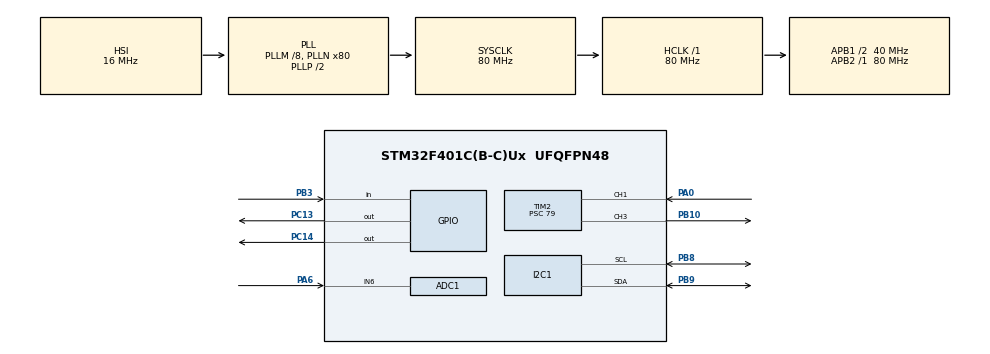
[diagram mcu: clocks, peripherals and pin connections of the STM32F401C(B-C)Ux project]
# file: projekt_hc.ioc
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ADC1.Channel-3\#ChannelRegularConversion=ADC_CHANNEL_6
ADC1.ContinuousConvMode=ENABLE
ADC1.NbrOfConversionFlag=1
ADC1.Rank-3\#ChannelRegularConversion=1
ADC1.SamplingTime-3\#ChannelRegularConversion=ADC_SAMPLETIME_56CYCLES
ADC1.master=1
I2C1.I2C_Mode=I2C_Fast
Mcu.Family=STM32F4
Mcu.Name=STM32F401C(B-C)Ux
Mcu.Package=UFQFPN48
NVIC.PriorityGroup=NVIC_PRIORITYGROUP_4
PA0-WKUP.Signal=S_TIM2_CH1_ETR
PA6.Signal=ADCx_IN6
PB10.Signal=S_TIM2_CH3
PB3.GPIO_PuPd=GPIO_PULLUP
PB3.Signal=GPIO_Input
PB8.Mode=I2C
PB8.Signal=I2C1_SCL
PB9.Mode=I2C
PB9.Signal=I2C1_SDA
PC13-ANTI_TAMP.Signal=GPIO_Output
PC14-OSC32_IN.Signal=GPIO_Output
ProjectManager.HeapSize=0x200
ProjectManager.StackSize=0x400
ProjectManager.TargetToolchain=STM32CubeIDE
RCC.48MHZClocksFreq_Value=40000000
RCC.AHBFreq_Value=80000000
RCC.APB1CLKDivider=RCC_HCLK_DIV2
RCC.APB1Freq_Value=40000000
RCC.APB1TimFreq_Value=80000000
RCC.APB2Freq_Value=80000000
RCC.APB2TimFreq_Value=80000000
RCC.CortexFreq_Value=80000000
RCC.HCLKFreq_Value=80000000
RCC.HSE_VALUE=25000000
RCC.HSI_VALUE=16000000
RCC.LSE_VALUE=32768
RCC.PLLM=8
RCC.PLLN=80
RCC.SYSCLKFreq_VALUE=80000000
RCC.SYSCLKSource=RCC_SYSCLKSOURCE_PLLCLK
RCC.VCOOutputFreq_Value=160000000
SH.ADCx_IN6.0=ADC1_IN6,IN6
SH.S_TIM2_CH1_ETR.0=TIM2_CH1,Input_Capture1_from_TI1
SH.S_TIM2_CH3.0=TIM2_CH3,PWM Generation3 CH3
TIM2.Channel-Input_Capture1_from_TI1=TIM_CHANNEL_1
TIM2.Channel-Input_Capture2_from_TI1_63=TIM_CHANNEL_2
TIM2.Channel-PWM\ Generation3\ CH3=TIM_CHANNEL_3
TIM2.ICPolarity_CH1=TIM_INPUTCHANNELPOLARITY_RISING
TIM2.ICPolarity_CH2=TIM_INPUTCHANNELPOLARITY_FALLING
TIM2.Period=999999
TIM2.Prescaler=79
TIM2.Pulse-PWM\ Generation3\ CH3=10
VP_TIM2_VS_ClockSourceINT.Mode=Internal
VP_TIM2_VS_indirect_ch1.Mode=Input_Capture2_from_TI1_63
board=custom

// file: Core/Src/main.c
/* USER CODE BEGIN Header */
/**
  ******************************************************************************
  * @file           : main.c
  * @brief          : Main program body
  ******************************************************************************
  * @attention
  *
  * Copyright (c) 2025 STMicroelectronics.
  * All rights reserved.
  *
  * This software is licensed under terms that can be found in the LICENSE file
  * in the root directory of this software component.
  * If no LICENSE file comes with this software, it is provided AS-IS.
  *
  ******************************************************************************
  */
/* USER CODE END Header */
#include "main.h"

/* USER CODE BEGIN Includes */
#include "fonts.h"
#include "ssd1306.h"
/* USER CODE END Includes */

ADC_HandleTypeDef hadc1;

I2C_HandleTypeDef hi2c1;

TIM_HandleTypeDef htim2;

void SystemClock_Config(void);
static void MX_GPIO_Init(void);
static void MX_TIM2_Init(void);
static void MX_I2C1_Init(void);
static void MX_ADC1_Init(void);

int main(void)
{

  /* MCU Configuration--------------------------------------------------------*/

  /* Reset of all peripherals, Initializes the Flash interface and the Systick. */
  HAL_Init();

  /* Configure the system clock */
  SystemClock_Config();

  /* Initialize all configured peripherals */
  MX_GPIO_Init();
  MX_TIM2_Init();
  MX_I2C1_Init();
  MX_ADC1_Init();
  /* USER CODE BEGIN 2 */
  SSD1306_Init();
  char snum[5];

  SSD1306_GotoXY (5,0);
  SSD1306_Puts ("POMIAR", &Font_11x18, 1);
  SSD1306_GotoXY (5,20);
  SSD1306_Puts ("ODLEGLOSCI", &Font_11x18, 1);
  SSD1306_GotoXY (5,40);
  SSD1306_Puts ("W CM", &Font_11x18, 1);
  SSD1306_UpdateScreen();
  HAL_Delay (3000);

  SSD1306_Clear();
  SSD1306_GotoXY (15,0);
  SSD1306_Puts ("ODLEGLOSC", &Font_11x18, 1);
  /* USER CODE END 2 */

  /* Infinite loop */
  /* USER CODE BEGIN WHILE */

  HAL_TIM_IC_Start(&htim2, TIM_CHANNEL_1);
  HAL_TIM_IC_Start(&htim2, TIM_CHANNEL_2);
  HAL_TIM_PWM_Start(&htim2, TIM_CHANNEL_3);
  HAL_Delay(1000);
  uint32_t value = 0;

  while (1)
  {
	//pomiar temperatury
	  HAL_ADC_Start(&hadc1);
	  uint32_t adc_value = HAL_ADC_GetValue(&hadc1);
	  float temp = adc_value * 330.0f / 4096.0f;
	  float speed = 331.8f + 0.6f * temp;

	//wykonywanie pomiaru odleglosci
	uint32_t start = HAL_TIM_ReadCapturedValue(&htim2, TIM_CHANNEL_1);
	uint32_t stop = HAL_TIM_ReadCapturedValue(&htim2, TIM_CHANNEL_2);
	value = (stop - start)* speed / 20000;

	if(HAL_GPIO_ReadPin(GPIOB, GPIO_PIN_3) == GPIO_PIN_RESET){
		value = temp;
	}
	//wyswietlanie wartosc na ekranie
	itoa(value, snum, 10);
	SSD1306_GotoXY (0, 30);
	SSD1306_Puts ("             ", &Font_16x26, 1);
	SSD1306_UpdateScreen();
	if(value < 10) {
		SSD1306_GotoXY (53, 30);  // 1 DIGIT
	}
	else if (value < 100 ) {
		SSD1306_GotoXY (45, 30);  // 2 DIGITS
	}
	else if (value  < 1000 ) {
		SSD1306_GotoXY (37, 30);  // 3 DIGITS
	}
	else {
		SSD1306_GotoXY (30, 30);  // 4 DIGIS
	}
	SSD1306_Puts (snum, &Font_16x26, 1);
	SSD1306_UpdateScreen();

  	HAL_Delay(1000);
    /* USER CODE END WHILE */

  }
}

void SystemClock_Config(void)
{
  RCC_OscInitTypeDef RCC_OscInitStruct = {0};
  RCC_ClkInitTypeDef RCC_ClkInitStruct = {0};

  /** Configure the main internal regulator output voltage
  */
  __HAL_RCC_PWR_CLK_ENABLE();
  __HAL_PWR_VOLTAGESCALING_CONFIG(PWR_REGULATOR_VOLTAGE_SCALE2);

  /** Initializes the RCC Oscillators according to the specified parameters
  * in the RCC_OscInitTypeDef structure.
  */
  RCC_OscInitStruct.OscillatorType = RCC_OSCILLATORTYPE_HSI;
  RCC_OscInitStruct.HSIState = RCC_HSI_ON;
  RCC_OscInitStruct.HSICalibrationValue = RCC_HSICALIBRATION_DEFAULT;
  RCC_OscInitStruct.PLL.PLLState = RCC_PLL_ON;
  RCC_OscInitStruct.PLL.PLLSource = RCC_PLLSOURCE_HSI;
  RCC_OscInitStruct.PLL.PLLM = 8;
  RCC_OscInitStruct.PLL.PLLN = 80;
  RCC_OscInitStruct.PLL.PLLP = RCC_PLLP_DIV2;
  RCC_OscInitStruct.PLL.PLLQ = 4;
  if (HAL_RCC_OscConfig(&RCC_OscInitStruct) != HAL_OK)
  {
    Error_Handler();
  }

  /** Initializes the CPU, AHB and APB buses clocks
  */
  RCC_ClkInitStruct.ClockType = RCC_CLOCKTYPE_HCLK|RCC_CLOCKTYPE_SYSCLK
                              |RCC_CLOCKTYPE_PCLK1|RCC_CLOCKTYPE_PCLK2;
  RCC_ClkInitStruct.SYSCLKSource = RCC_SYSCLKSOURCE_PLLCLK;
  RCC_ClkInitStruct.AHBCLKDivider = RCC_SYSCLK_DIV1;
  RCC_ClkInitStruct.APB1CLKDivider = RCC_HCLK_DIV2;
  RCC_ClkInitStruct.APB2CLKDivider = RCC_HCLK_DIV1;

  if (HAL_RCC_ClockConfig(&RCC_ClkInitStruct, FLASH_LATENCY_2) != HAL_OK)
  {
    Error_Handler();
  }
}

static void MX_ADC1_Init(void)
{

  ADC_ChannelConfTypeDef sConfig = {0};

  /** Configure the global features of the ADC (Clock, Resolution, Data Alignment and number of conversion)
  */
  hadc1.Instance = ADC1;
  hadc1.Init.ClockPrescaler = ADC_CLOCK_SYNC_PCLK_DIV4;
  hadc1.Init.Resolution = ADC_RESOLUTION_12B;
  hadc1.Init.ScanConvMode = DISABLE;
  hadc1.Init.ContinuousConvMode = ENABLE;
  hadc1.Init.DiscontinuousConvMode = DISABLE;
  hadc1.Init.ExternalTrigConvEdge = ADC_EXTERNALTRIGCONVEDGE_NONE;
  hadc1.Init.ExternalTrigConv = ADC_SOFTWARE_START;
  hadc1.Init.DataAlign = ADC_DATAALIGN_RIGHT;
  hadc1.Init.NbrOfConversion = 1;
  hadc1.Init.DMAContinuousRequests = DISABLE;
  hadc1.Init.EOCSelection = ADC_EOC_SINGLE_CONV;
  if (HAL_ADC_Init(&hadc1) != HAL_OK)
  {
    Error_Handler();
  }

  /** Configure for the selected ADC regular channel its corresponding rank in the sequencer and its sample time.
  */
  sConfig.Channel = ADC_CHANNEL_6;
  sConfig.Rank = 1;
  sConfig.SamplingTime = ADC_SAMPLETIME_56CYCLES;
  if (HAL_ADC_ConfigChannel(&hadc1, &sConfig) != HAL_OK)
  {
    Error_Handler();
  }

}

static void MX_I2C1_Init(void)
{

  hi2c1.Instance = I2C1;
  hi2c1.Init.ClockSpeed = 400000;
  hi2c1.Init.DutyCycle = I2C_DUTYCYCLE_2;
  hi2c1.Init.OwnAddress1 = 0;
  hi2c1.Init.AddressingMode = I2C_ADDRESSINGMODE_7BIT;
  hi2c1.Init.DualAddressMode = I2C_DUALADDRESS_DISABLE;
  hi2c1.Init.OwnAddress2 = 0;
  hi2c1.Init.GeneralCallMode = I2C_GENERALCALL_DISABLE;
  hi2c1.Init.NoStretchMode = I2C_NOSTRETCH_DISABLE;
  if (HAL_I2C_Init(&hi2c1) != HAL_OK)
  {
    Error_Handler();
  }

}

static void MX_TIM2_Init(void)
{

  TIM_ClockConfigTypeDef sClockSourceConfig = {0};
  TIM_MasterConfigTypeDef sMasterConfig = {0};
  TIM_IC_InitTypeDef sConfigIC = {0};
  TIM_OC_InitTypeDef sConfigOC = {0};

  htim2.Instance = TIM2;
  htim2.Init.Prescaler = 79;
  htim2.Init.CounterMode = TIM_COUNTERMODE_UP;
  htim2.Init.Period = 999999;
  htim2.Init.ClockDivision = TIM_CLOCKDIVISION_DIV1;
  htim2.Init.AutoReloadPreload = TIM_AUTORELOAD_PRELOAD_DISABLE;
  if (HAL_TIM_Base_Init(&htim2) != HAL_OK)
  {
    Error_Handler();
  }
  sClockSourceConfig.ClockSource = TIM_CLOCKSOURCE_INTERNAL;
  if (HAL_TIM_ConfigClockSource(&htim2, &sClockSourceConfig) != HAL_OK)
  {
    Error_Handler();
  }
  if (HAL_TIM_IC_Init(&htim2) != HAL_OK)
  {
    Error_Handler();
  }
  if (HAL_TIM_PWM_Init(&htim2) != HAL_OK)
  {
    Error_Handler();
  }
  sMasterConfig.MasterOutputTrigger = TIM_TRGO_RESET;
  sMasterConfig.MasterSlaveMode = TIM_MASTERSLAVEMODE_DISABLE;
  if (HAL_TIMEx_MasterConfigSynchronization(&htim2, &sMasterConfig) != HAL_OK)
  {
    Error_Handler();
  }
  sConfigIC.ICPolarity = TIM_INPUTCHANNELPOLARITY_RISING;
  sConfigIC.ICSelection = TIM_ICSELECTION_DIRECTTI;
  sConfigIC.ICPrescaler = TIM_ICPSC_DIV1;
  sConfigIC.ICFilter = 0;
  if (HAL_TIM_IC_ConfigChannel(&htim2, &sConfigIC, TIM_CHANNEL_1) != HAL_OK)
  {
    Error_Handler();
  }
  sConfigIC.ICPolarity = TIM_INPUTCHANNELPOLARITY_FALLING;
  sConfigIC.ICSelection = TIM_ICSELECTION_INDIRECTTI;
  if (HAL_TIM_IC_ConfigChannel(&htim2, &sConfigIC, TIM_CHANNEL_2) != HAL_OK)
  {
    Error_Handler();
  }
  sConfigOC.OCMode = TIM_OCMODE_PWM1;
  sConfigOC.Pulse = 10;
  sConfigOC.OCPolarity = TIM_OCPOLARITY_HIGH;
  sConfigOC.OCFastMode = TIM_OCFAST_DISABLE;
  if (HAL_TIM_PWM_ConfigChannel(&htim2, &sConfigOC, TIM_CHANNEL_3) != HAL_OK)
  {
    Error_Handler();
  }
  HAL_TIM_MspPostInit(&htim2);

}

static void MX_GPIO_Init(void)
{
  GPIO_InitTypeDef GPIO_InitStruct = {0};

  /* GPIO Ports Clock Enable */
  __HAL_RCC_GPIOC_CLK_ENABLE();
  __HAL_RCC_GPIOA_CLK_ENABLE();
  __HAL_RCC_GPIOB_CLK_ENABLE();

  /*Configure GPIO pin Output Level */
  HAL_GPIO_WritePin(GPIOC, GPIO_PIN_13|GPIO_PIN_14, GPIO_PIN_RESET);

  /*Configure GPIO pins : PC13 PC14 */
  GPIO_InitStruct.Pin = GPIO_PIN_13|GPIO_PIN_14;
  GPIO_InitStruct.Mode = GPIO_MODE_OUTPUT_PP;
  GPIO_InitStruct.Pull = GPIO_NOPULL;
  GPIO_InitStruct.Speed = GPIO_SPEED_FREQ_LOW;
  HAL_GPIO_Init(GPIOC, &GPIO_InitStruct);

  /*Configure GPIO pin : PB3 */
  GPIO_InitStruct.Pin = GPIO_PIN_3;
  GPIO_InitStruct.Mode = GPIO_MODE_INPUT;
  GPIO_InitStruct.Pull = GPIO_PULLUP;
  HAL_GPIO_Init(GPIOB, &GPIO_InitStruct);

}

void Error_Handler(void)
{
  __disable_irq();
  while (1)
  {
  }
}
